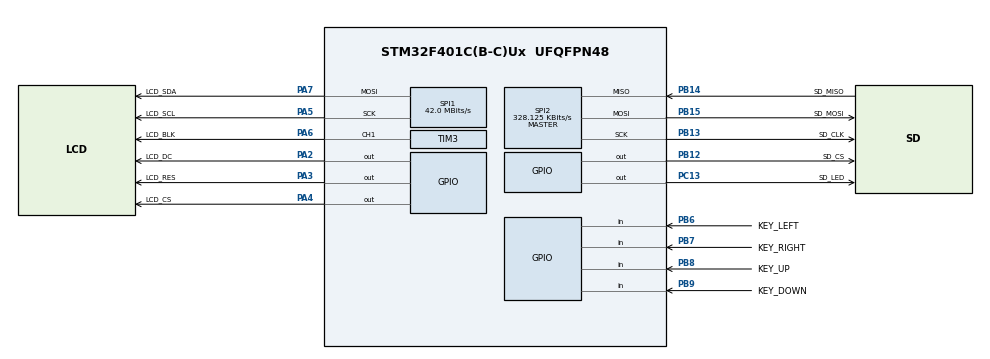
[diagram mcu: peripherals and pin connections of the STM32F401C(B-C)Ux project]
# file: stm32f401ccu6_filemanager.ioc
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Dma.Request0=SPI1_TX
Dma.Request1=SPI2_RX
Dma.Request2=SPI2_TX
Dma.SPI1_TX.0.Direction=DMA_MEMORY_TO_PERIPH
Dma.SPI1_TX.0.FIFOMode=DMA_FIFOMODE_DISABLE
Dma.SPI1_TX.0.Instance=DMA2_Stream3
Dma.SPI1_TX.0.MemDataAlignment=DMA_MDATAALIGN_HALFWORD
Dma.SPI1_TX.0.MemInc=DMA_MINC_ENABLE
Dma.SPI1_TX.0.Mode=DMA_NORMAL
Dma.SPI1_TX.0.PeriphDataAlignment=DMA_PDATAALIGN_HALFWORD
Dma.SPI1_TX.0.PeriphInc=DMA_PINC_DISABLE
Dma.SPI1_TX.0.Priority=DMA_PRIORITY_LOW
Dma.SPI2_RX.1.Direction=DMA_PERIPH_TO_MEMORY
Dma.SPI2_RX.1.FIFOMode=DMA_FIFOMODE_DISABLE
Dma.SPI2_RX.1.Instance=DMA1_Stream3
Dma.SPI2_RX.1.MemDataAlignment=DMA_MDATAALIGN_BYTE
Dma.SPI2_RX.1.MemInc=DMA_MINC_ENABLE
Dma.SPI2_RX.1.Mode=DMA_NORMAL
Dma.SPI2_RX.1.PeriphDataAlignment=DMA_PDATAALIGN_BYTE
Dma.SPI2_RX.1.PeriphInc=DMA_PINC_DISABLE
Dma.SPI2_RX.1.Priority=DMA_PRIORITY_LOW
Dma.SPI2_TX.2.Direction=DMA_MEMORY_TO_PERIPH
Dma.SPI2_TX.2.FIFOMode=DMA_FIFOMODE_DISABLE
Dma.SPI2_TX.2.Instance=DMA1_Stream4
Dma.SPI2_TX.2.MemDataAlignment=DMA_MDATAALIGN_BYTE
Dma.SPI2_TX.2.MemInc=DMA_MINC_ENABLE
Dma.SPI2_TX.2.Mode=DMA_NORMAL
Dma.SPI2_TX.2.PeriphDataAlignment=DMA_PDATAALIGN_BYTE
Dma.SPI2_TX.2.PeriphInc=DMA_PINC_DISABLE
Dma.SPI2_TX.2.Priority=DMA_PRIORITY_LOW
FATFS._CODE_PAGE=866
FATFS._FS_LOCK=0
FATFS._USE_LFN=1
Mcu.Family=STM32F4
Mcu.Name=STM32F401C(B-C)Ux
Mcu.Package=UFQFPN48
NVIC.DMA1_Stream3_IRQn=true\:0\:0\:false\:false\:true\:false\:true\:true
NVIC.DMA1_Stream4_IRQn=true\:0\:0\:false\:false\:true\:false\:true\:true
NVIC.DMA2_Stream3_IRQn=true\:0\:0\:false\:false\:true\:false\:true\:true
NVIC.PriorityGroup=NVIC_PRIORITYGROUP_4
NVIC.TIM1_UP_TIM10_IRQn=true\:2\:0\:true\:false\:true\:true\:true\:true
PA13.Mode=Serial_Wire
PA13.Signal=SYS_JTMS-SWDIO
PA14.Mode=Serial_Wire
PA14.Signal=SYS_JTCK-SWCLK
PA2.GPIO_Label=LCD_DC
PA2.GPIO_Speed=GPIO_SPEED_FREQ_HIGH
PA2.PinState=GPIO_PIN_SET
PA2.Signal=GPIO_Output
PA3.GPIO_Label=LCD_RES
PA3.GPIO_Speed=GPIO_SPEED_FREQ_HIGH
PA3.PinState=GPIO_PIN_SET
PA3.Signal=GPIO_Output
PA4.GPIO_Label=LCD_CS
PA4.GPIO_PuPd=GPIO_PULLUP
PA4.GPIO_Speed=GPIO_SPEED_FREQ_HIGH
PA4.PinState=GPIO_PIN_SET
PA4.Signal=GPIO_Output
PA5.GPIO_Label=LCD_SCL
PA5.GPIO_PuPd=GPIO_PULLUP
PA5.Mode=TX_Only_Simplex_Unidirect_Master
PA5.Signal=SPI1_SCK
PA6.GPIO_Label=LCD_BLK
PA6.Signal=S_TIM3_CH1
PA7.GPIO_Label=LCD_SDA
PA7.GPIO_PuPd=GPIO_PULLUP
PA7.Mode=TX_Only_Simplex_Unidirect_Master
PA7.Signal=SPI1_MOSI
PB12.GPIO_Label=SD_CS
PB12.GPIO_PuPd=GPIO_PULLUP
PB12.GPIO_Speed=GPIO_SPEED_FREQ_HIGH
PB12.PinState=GPIO_PIN_SET
PB12.Signal=GPIO_Output
PB13.GPIO_Label=SD_CLK
PB13.Mode=Full_Duplex_Master
PB13.Signal=SPI2_SCK
PB14.GPIO_Label=SD_MISO
PB14.Mode=Full_Duplex_Master
PB14.Signal=SPI2_MISO
PB15.GPIO_Label=SD_MOSI
PB15.Mode=Full_Duplex_Master
PB15.Signal=SPI2_MOSI
PB6.GPIO_Label=KEY_LEFT
PB6.GPIO_Mode=GPIO_MODE_INPUT
PB6.GPIO_PuPd=GPIO_PULLUP
PB6.Signal=GPIO_Input
PB7.GPIO_Label=KEY_RIGHT
PB7.GPIO_Mode=GPIO_MODE_INPUT
PB7.GPIO_PuPd=GPIO_PULLUP
PB7.Signal=GPIO_Input
PB8.GPIO_Label=KEY_UP
PB8.GPIO_Mode=GPIO_MODE_INPUT
PB8.GPIO_PuPd=GPIO_PULLUP
PB8.Signal=GPIO_Input
PB9.GPIO_Label=KEY_DOWN
PB9.GPIO_Mode=GPIO_MODE_INPUT
PB9.GPIO_PuPd=GPIO_PULLUP
PB9.Signal=GPIO_Input
PC13-ANTI_TAMP.GPIO_Label=SD_LED
PC13-ANTI_TAMP.PinState=GPIO_PIN_SET
PC13-ANTI_TAMP.Signal=GPIO_Output
PH0\ -\ OSC_IN.Mode=HSE-External-Oscillator
PH0\ -\ OSC_IN.Signal=RCC_OSC_IN
PH1\ -\ OSC_OUT.Mode=HSE-External-Oscillator
PH1\ -\ OSC_OUT.Signal=RCC_OSC_OUT
ProjectManager.HeapSize=0x200
ProjectManager.StackSize=0x400
ProjectManager.TargetToolchain=STM32CubeIDE
RCC.48MHZClocksFreq_Value=42000000
RCC.AHBFreq_Value=84000000
RCC.APB1CLKDivider=RCC_HCLK_DIV2
RCC.APB1Freq_Value=42000000
RCC.APB1TimFreq_Value=84000000
RCC.APB2Freq_Value=84000000
RCC.APB2TimFreq_Value=84000000
RCC.CortexFreq_Value=84000000
RCC.HCLKFreq_Value=84000000
RCC.HSE_VALUE=25000000
RCC.HSI_VALUE=16000000
RCC.LSE_VALUE=32768
RCC.PLLM=25
RCC.PLLN=168
RCC.PLLSourceVirtual=RCC_PLLSOURCE_HSE
RCC.SYSCLKFreq_VALUE=84000000
RCC.SYSCLKSource=RCC_SYSCLKSOURCE_PLLCLK
RCC.VCOOutputFreq_Value=168000000
SH.S_TIM3_CH1.0=TIM3_CH1,PWM Generation1 CH1
SPI1.CLKPolarity=SPI_POLARITY_HIGH
SPI1.CalculateBaudRate=42.0 MBits/s
SPI1.Direction=SPI_DIRECTION_2LINES
SPI1.Mode=SPI_MODE_MASTER
SPI1.VirtualType=VM_MASTER
SPI2.BaudRatePrescaler=SPI_BAUDRATEPRESCALER_128
SPI2.CalculateBaudRate=328.125 KBits/s
SPI2.Direction=SPI_DIRECTION_2LINES
SPI2.Mode=SPI_MODE_MASTER
SPI2.VirtualType=VM_MASTER
TIM10.Period=419
TIM10.Prescaler=999
TIM3.Channel-PWM\ Generation1\ CH1=TIM_CHANNEL_1
TIM3.Period=209
TIM3.Prescaler=999
TIM3.Pulse-PWM\ Generation1\ CH1=109
VP_FATFS_VS_Generic.Mode=User_defined
VP_TIM10_VS_ClockSourceINT.Mode=Enable_Timer
board=custom

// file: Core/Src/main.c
/* USER CODE BEGIN Header */
/**
  *
  * Copyright (C) 2022, VadRov, all right reserved.
  *
  * Проект файлового менеджера с использованием библиотеки FATFS
  *
  * Допускается свободное распространение без целей коммерческого использования.
  * При коммерческом использовании необходимо согласование с автором.
  * Распространятся по типу "как есть", то есть использование осуществляете на свой страх и риск.
  * Автор не предоставляет никаких гарантий.
  *
  * Основные возможности файлового менеджера:
  * - Вывод менеджера в окне, параметры (координата верхнего левого угла, ширина и высота окна, шрифт, цвет)
  *   которого задает пользователь;
  * - Сокращение имен файлов и каталогов (если они не помещаются в окне) по типу менеджера Total Commander;
  * - Нет ограничений на количество файлов и подкаталогов в каталоге;
  * - Запоминание позиции курсора в вышестоящем каталоге и восстановление этой позиции при возврате на него
  *   с вложенного подкаталога;
  * - Вывод иконок (значков) файлов и каталогов;
  * - Поддержка вложенных каталогов с уровнем вложенности, ограниченным размером оперативной памяти
  *   микроконтроллера.
  *
  *   Проект базируется на библиотеках автора:
  *   - драйвер работы с SD-картой по SPI c использованием DMA (Авторы: ChaN (2014), kiwih (2017), VadRov (2019),
  *     каталог FATFS/Target)
  *     https://www.youtube.com/watch?v=z99bLhlnukM
  *   - драйвер для работы с дисплеями по SPI с использованием DMA (каталог Display_spi_LL)
  *     https://www.youtube.com/watch?v=8tIJ16riJqo
  *   - модуль для работы с кнопками с фильтром дребезга, автоповтором и буферризацией ввода (каталог Keyboard)
  *     https://www.youtube.com/watch?v=e-w5HS75neg
  *   - процедуры работы со строками (каталог MyString).
  *
  * Автор: VadRov
  *
  * https://www.youtube.com/@VadRov
  * https://dzen.ru/vadrov
  * https://vk.com/vadrov
  * https://t.me/vadrov_channel
  */
/* USER CODE END Header */
#include "main.h"
#include "fatfs.h"

/* USER CODE BEGIN Includes */
#include "string.h"
/*--------- Подключение пользовательских модулей и драйверов -----------------*/
#include "../../Keyboard/keyboard.h" 	   //модуль работы с кнопками
#include "../../Display/display.h"  	   //драйвер работы с дисплеями по SPI
#include "../../Display/st7789.h"	  	   //драйвер для дисплея ST7789
#include "../../Display/ili9341.h"	  	   //драйвер для дисплея ST7789
#include "../../Filemanager/filemanager.h" //модуль файлового менеджера
#include "../../MyString/mystring.h"	   //библиотека работы со строками
/* USER CODE END Includes */

void SystemClock_Config(void);
static void MX_GPIO_Init(void);
static void MX_DMA_Init(void);
static void MX_SPI1_Init(void);
static void MX_TIM10_Init(void);
static void MX_SPI2_Init(void);
static void MX_TIM3_Init(void);

int main(void)
{

  /* MCU Configuration--------------------------------------------------------*/

  /* Reset of all peripherals, Initializes the Flash interface and the Systick. */
  HAL_Init();

  /* Configure the system clock */
  SystemClock_Config();

  /* Initialize all configured peripherals */
  MX_GPIO_Init();
  MX_DMA_Init();
  MX_SPI1_Init();
  MX_TIM10_Init();
  MX_SPI2_Init();
  MX_TIM3_Init();
  MX_FATFS_Init();
  /* USER CODE BEGIN 2 */

  /* ---------------------------- Настройка кнопок ------------------------------- */
  KEYB_Add_Button(KEY_LEFT_GPIO_Port, KEY_LEFT_Pin, KEYB_LEFT, KEYB_BUTTON_ACTIVE);
  KEYB_Add_Button(KEY_RIGHT_GPIO_Port, KEY_RIGHT_Pin, KEYB_RIGHT, KEYB_BUTTON_ACTIVE);
  KEYB_Add_Button(KEY_UP_GPIO_Port, KEY_UP_Pin, KEYB_UP, KEYB_BUTTON_ACTIVE);
  KEYB_Add_Button(KEY_DOWN_GPIO_Port, KEY_DOWN_Pin, KEYB_DOWN, KEYB_BUTTON_ACTIVE);

  TIM10->DIER |= TIM_DIER_UIE;
  TIM10->CR1  |= TIM_CR1_CEN;
  /* ------------------------------------------------------------------------------- */

  /* ---------------------------- Настройка дисплея -------------------------------- */
  LCD_DMA_TypeDef dma_tx = { DMA2,
    		  	  	  	  	 LL_DMA_STREAM_3 };

  LCD_BackLight_data bkl_data = { TIM3,
    		  	  	  	  	  	  LL_TIM_CHANNEL_CH1,
								  0,
								  0,
								  50  };

  LCD_SPI_Connected_data spi_con = { SPI1,
    		  	  	  	  	  	  	 dma_tx,
									 LCD_RES_GPIO_Port,
									 LCD_RES_Pin,
									 LCD_DC_GPIO_Port,
									 LCD_DC_Pin,
									 LCD_CS_GPIO_Port,
									 LCD_CS_Pin         };

  #ifndef LCD_DYNAMIC_MEM
  LCD_Handler lcd1;
#endif

//для дисплея на контроллере st7789
  LCD = LCD_DisplayAdd( LCD,
#ifndef LCD_DYNAMIC_MEM
		   	   	   	   	&lcd1,
#endif
						240,
     					240,
						ST7789_CONTROLLER_WIDTH,
						ST7789_CONTROLLER_HEIGHT,
						PAGE_ORIENTATION_PORTRAIT,
						//PAGE_ORIENTATION_LANDSCAPE,
						ST7789_Init,
						ST7789_SetWindow,
						ST7789_SleepIn,
						ST7789_SleepOut,
						&spi_con,
						LCD_DATA_16BIT_BUS,
						bkl_data				   );

/*
  //для дисплея на контроллере ili9341
  LCD = LCD_DisplayAdd( LCD,
#ifndef  LCD_DYNAMIC_MEM
		   	   	   	   	 &lcd1,
#endif
		   	   	   	   	 240,
						 320,
						 ILI9341_CONTROLLER_WIDTH,
						 ILI9341_CONTROLLER_HEIGHT,
						 PAGE_ORIENTATION_PORTRAIT_MIRROR,
						 ILI9341_Init,
						 ILI9341_SetWindow,
						 ILI9341_SleepIn,
						 ILI9341_SleepOut,
						 &spi_con,
						 LCD_DATA_16BIT_BUS,
						 bkl_data				   );
*/
  LCD_Handler *lcd = LCD; //указатель на первый дисплей в списке
  LCD_Init(lcd);
  LCD_Fill(lcd, COLOR_BLACK);
  /* ------------------------------------------------------------------------------ */

  /* ----------------------------- Монтирование диска ----------------------------- */
  (void)f_mount(&USERFatFS, USERPath, 0);
  /* ------------------------------------------------------------------------------ */

  /* ----------------------- Настройка файлового менеджера ------------------------ */
  /* Определение цветовых схем. Варианты для примера. */
  /* Вариант 1. Цветовая схема по типу TotalCommander */
  File_Manager_Color_Scheme color_scheme_tc = { COLOR_BLACK, /* цвет текста наименования каталога */
		  	  	  	  	  	  	  	  	  	  	COLOR_BLACK, /* цвет текста наименования файла */
												COLOR_BLACK, /* цвет текста выбранного файла/каталога */
												COLOR_WHITE, /* цвет фона окна менеджера (для пустых строк) */
												COLOR_WHITE, /* цвет фона четных строк */
												0xF5F5F5,    /* цвет фона нечетных строк */
												COLOR_BLACK, /* цвет курсора текущего файла/каталога */
												0xDBDBDB,	 /* цвет ползунка вертикальной прокрутки */
												0xF5F5F5,	 /* цвет полосы вертикальной прокрутки */
												0			 /* флаг закрашивания курсора:
															    0 - текст выбранного файла/каталога обводится
															    прямоугольником цвета курсора (cursor_color).
													 	 	    >0 - фон текста выбранного файла/каталога приравнивается
													 	 	    цвету курсора (cursor_color) */
											 	 };
  /* Вариант 2. Цветовая схема по типу FAR */
  File_Manager_Color_Scheme color_scheme_far = { COLOR_WHITE,
		  	  	  	  	  	  	  	  	  	  	 COLOR_CYAN,
												 COLOR_BLACK,
		  	  	  	  	  	  	  	  	  	  	 COLOR_BLUE,
												 COLOR_BLUE,
												 COLOR_BLUE,
												 0x00CCCC,
												 COLOR_CYAN,
												 COLOR_BLUE,
												 1};
  /* Вариант 3. Цветовая схема по типу Frigate */
  File_Manager_Color_Scheme color_scheme_frigate = { 0x19389E,
		  	  	  	  	  	  	  	  	  	  	  	 0x19389E,
													 COLOR_BLACK,
													 COLOR_WHITE,
													 COLOR_WHITE,
													 COLOR_WHITE,
													 0xA6CBEE,
													 0xA6CBEE,
												 	 0xF8F8F5,
													 1};
  /* Вариант 4. Цветовая схема по типу Double Commander */
  File_Manager_Color_Scheme color_scheme_dc = { COLOR_GREEN,
		  	  	  	  	  	  	  	  	  	  	COLOR_GREEN,
												COLOR_BLACK,
		  	  	  	  	  	  	  	  	  	  	COLOR_BLACK,
												COLOR_BLACK,
												COLOR_BLACK,
												0x0A246A,
												0xD4D0C8,
												0xF0F0F0,
												1};

  /* Объявление массива указателей на цветовые схемы */
  File_Manager_Color_Scheme *color_scheme[] = {&color_scheme_tc, &color_scheme_far, &color_scheme_frigate, &color_scheme_dc};

/* Константы, соответствующие позиции указателя на цветовую схему в массиве *color_scheme[] */
#define COLOR_SCHEME_TC			0
#define COLOR_SCHEME_FAR		1
#define COLOR_SCHEME_FRIGATE	2
#define COLOR_SCHEME_DC			3

  File_Manager_Handler *fm = FileManagerNew();			/* Создание обработчика файлового менеджера */
  fm->SetDisplay(fm, lcd);								/* Дисплей, на который выводится файловый менеджер (указатель) */
  fm->SetWin(fm, 0, 0, lcd->Width, lcd->Height);		/* Параметры окна файлового менеджера:
  	  	  	  	  	  	  	  	  	  	  	  	  	  	  - позиция левого верхнего угла окна по горизонтали;
  	  	  	  	  	  	  	  	  	  	  	  	  	  	  - позиция левого верхнего угла окна по вертикали;
  	  	  	  	  	  	  	  	  	  	  	  	  	  	  - ширина окна;
  	  	  	  	  	  	  	  	  	  	  	  	  	  	  - высота окна. */
  fm->SetColor(fm, color_scheme[COLOR_SCHEME_TC]);		/* Цветовая схема (указатель) */
  fm->SetFont(fm, &Font_12x20);							/* Шрифт (указатель) */
  fm->SetKeys(fm, KEYB_UP, KEYB_DOWN, KEYB_RIGHT);		/* Кнопки управления:
   	   	   	   	   	   	   	   	   	   	   	   	   	   	   - номер бита кнопки вверх;
   	   	   	   	   	   	   	   	   	   	   	   	   	   	   - номер бита кнопки вниз;
   	   	   	   	   	   	   	   	   	   	   	   	   	   	   - номер бита кнопки ввод/выбор. */
  //--------------------------------------------------------------------------------

  while (1)
  {
	  /* "Всплывающее" окно файлового менеджера */
	  FileManagerPopupWin(fm, 5);
	  /* Запуск менеджера файлов */
	  fm->Show(fm);
	  /* Проверка статуса завершения работы менеджера файлов */
	  if (fm->GetStatus(fm) == File_Manager_OK) /* Завершение без ошибок с выбором файла? */
	  {
		  /* "Склеиваем" путь до файла с именем файла */
		  char *tmp = my_strsplice(2, "/", fm->GetFilePath(fm), fm->GetFileName(fm));
		  if (f_open(&USERFile, tmp, FA_READ) == FR_OK) /* Файл открыт успешно? */
		  {
			  /* Выводим сообщение о том, что файл открыт успешно. */
			  LCD_WriteString(lcd, 0, 0, "File opened succesfully!", fm->font, fm->color_scheme->text_color_file, fm->color_scheme->bg_color, LCD_SYMBOL_PRINT_FAST);
			  /* Закрываем файл */
			  f_close(&USERFile);
		  }
		  else
		  {
			  /* Выводим сообщение о том, что возникла ошибка при открытии файла */
			  LCD_WriteString(lcd, 0, 0, "File opening error!", fm->font, fm->color_scheme->text_color_file, fm->color_scheme->bg_color, LCD_SYMBOL_PRINT_FAST);
		  }
	  }
	  else
	  {
		  /* Выводим сообщение, что работа файлового менеджера завершена с ошибкой */
		  LCD_WriteString(lcd, 0, 0, "Error FileManager!", fm->font, fm->color_scheme->text_color_file, fm->color_scheme->bg_color, LCD_SYMBOL_PRINT_FAST);
	  }
	  /* Ожидаем нажатия любой кнопки */
	  while(!KEYB_Inkeys()) ;
  }
  /* USER CODE END 2 */

  /* Infinite loop */
  while (1)
  {

  }
}

void SystemClock_Config(void)
{
  LL_FLASH_SetLatency(LL_FLASH_LATENCY_2);
  while(LL_FLASH_GetLatency()!= LL_FLASH_LATENCY_2)
  {
  }
  LL_PWR_SetRegulVoltageScaling(LL_PWR_REGU_VOLTAGE_SCALE2);
  LL_RCC_HSE_Enable();

   /* Wait till HSE is ready */
  while(LL_RCC_HSE_IsReady() != 1)
  {

  }
  LL_RCC_PLL_ConfigDomain_SYS(LL_RCC_PLLSOURCE_HSE, LL_RCC_PLLM_DIV_25, 168, LL_RCC_PLLP_DIV_2);
  LL_RCC_PLL_Enable();

   /* Wait till PLL is ready */
  while(LL_RCC_PLL_IsReady() != 1)
  {

  }
  LL_RCC_SetAHBPrescaler(LL_RCC_SYSCLK_DIV_1);
  LL_RCC_SetAPB1Prescaler(LL_RCC_APB1_DIV_2);
  LL_RCC_SetAPB2Prescaler(LL_RCC_APB2_DIV_1);
  LL_RCC_SetSysClkSource(LL_RCC_SYS_CLKSOURCE_PLL);

   /* Wait till System clock is ready */
  while(LL_RCC_GetSysClkSource() != LL_RCC_SYS_CLKSOURCE_STATUS_PLL)
  {

  }
  LL_SetSystemCoreClock(84000000);

   /* Update the time base */
  if (HAL_InitTick (TICK_INT_PRIORITY) != HAL_OK)
  {
    Error_Handler();
  }
  LL_RCC_SetTIMPrescaler(LL_RCC_TIM_PRESCALER_TWICE);
}

static void MX_SPI1_Init(void)
{

  LL_SPI_InitTypeDef SPI_InitStruct = {0};

  LL_GPIO_InitTypeDef GPIO_InitStruct = {0};

  /* Peripheral clock enable */
  LL_APB2_GRP1_EnableClock(LL_APB2_GRP1_PERIPH_SPI1);

  LL_AHB1_GRP1_EnableClock(LL_AHB1_GRP1_PERIPH_GPIOA);
  /**SPI1 GPIO Configuration
  PA5   ------> SPI1_SCK
  PA7   ------> SPI1_MOSI
  */
  GPIO_InitStruct.Pin = LCD_SCL_Pin|LCD_SDA_Pin;
  GPIO_InitStruct.Mode = LL_GPIO_MODE_ALTERNATE;
  GPIO_InitStruct.Speed = LL_GPIO_SPEED_FREQ_VERY_HIGH;
  GPIO_InitStruct.OutputType = LL_GPIO_OUTPUT_PUSHPULL;
  GPIO_InitStruct.Pull = LL_GPIO_PULL_UP;
  GPIO_InitStruct.Alternate = LL_GPIO_AF_5;
  LL_GPIO_Init(GPIOA, &GPIO_InitStruct);

  /* SPI1 DMA Init */

  /* SPI1_TX Init */
  LL_DMA_SetChannelSelection(DMA2, LL_DMA_STREAM_3, LL_DMA_CHANNEL_3);

  LL_DMA_SetDataTransferDirection(DMA2, LL_DMA_STREAM_3, LL_DMA_DIRECTION_MEMORY_TO_PERIPH);

  LL_DMA_SetStreamPriorityLevel(DMA2, LL_DMA_STREAM_3, LL_DMA_PRIORITY_LOW);

  LL_DMA_SetMode(DMA2, LL_DMA_STREAM_3, LL_DMA_MODE_NORMAL);

  LL_DMA_SetPeriphIncMode(DMA2, LL_DMA_STREAM_3, LL_DMA_PERIPH_NOINCREMENT);

  LL_DMA_SetMemoryIncMode(DMA2, LL_DMA_STREAM_3, LL_DMA_MEMORY_INCREMENT);

  LL_DMA_SetPeriphSize(DMA2, LL_DMA_STREAM_3, LL_DMA_PDATAALIGN_HALFWORD);

  LL_DMA_SetMemorySize(DMA2, LL_DMA_STREAM_3, LL_DMA_MDATAALIGN_HALFWORD);

  LL_DMA_DisableFifoMode(DMA2, LL_DMA_STREAM_3);

  /* SPI1 parameter configuration*/
  SPI_InitStruct.TransferDirection = LL_SPI_FULL_DUPLEX;
  SPI_InitStruct.Mode = LL_SPI_MODE_MASTER;
  SPI_InitStruct.DataWidth = LL_SPI_DATAWIDTH_8BIT;
  SPI_InitStruct.ClockPolarity = LL_SPI_POLARITY_HIGH;
  SPI_InitStruct.ClockPhase = LL_SPI_PHASE_1EDGE;
  SPI_InitStruct.NSS = LL_SPI_NSS_SOFT;
  SPI_InitStruct.BaudRate = LL_SPI_BAUDRATEPRESCALER_DIV2;
  SPI_InitStruct.BitOrder = LL_SPI_MSB_FIRST;
  SPI_InitStruct.CRCCalculation = LL_SPI_CRCCALCULATION_DISABLE;
  SPI_InitStruct.CRCPoly = 10;
  LL_SPI_Init(SPI1, &SPI_InitStruct);
  LL_SPI_SetStandard(SPI1, LL_SPI_PROTOCOL_MOTOROLA);

}

static void MX_SPI2_Init(void)
{

  LL_SPI_InitTypeDef SPI_InitStruct = {0};

  LL_GPIO_InitTypeDef GPIO_InitStruct = {0};

  /* Peripheral clock enable */
  LL_APB1_GRP1_EnableClock(LL_APB1_GRP1_PERIPH_SPI2);

  LL_AHB1_GRP1_EnableClock(LL_AHB1_GRP1_PERIPH_GPIOB);
  /**SPI2 GPIO Configuration
  PB13   ------> SPI2_SCK
  PB14   ------> SPI2_MISO
  PB15   ------> SPI2_MOSI
  */
  GPIO_InitStruct.Pin = SD_CLK_Pin|SD_MISO_Pin|SD_MOSI_Pin;
  GPIO_InitStruct.Mode = LL_GPIO_MODE_ALTERNATE;
  GPIO_InitStruct.Speed = LL_GPIO_SPEED_FREQ_VERY_HIGH;
  GPIO_InitStruct.OutputType = LL_GPIO_OUTPUT_PUSHPULL;
  GPIO_InitStruct.Pull = LL_GPIO_PULL_NO;
  GPIO_InitStruct.Alternate = LL_GPIO_AF_5;
  LL_GPIO_Init(GPIOB, &GPIO_InitStruct);

  /* SPI2 DMA Init */

  /* SPI2_RX Init */
  LL_DMA_SetChannelSelection(DMA1, LL_DMA_STREAM_3, LL_DMA_CHANNEL_0);

  LL_DMA_SetDataTransferDirection(DMA1, LL_DMA_STREAM_3, LL_DMA_DIRECTION_PERIPH_TO_MEMORY);

  LL_DMA_SetStreamPriorityLevel(DMA1, LL_DMA_STREAM_3, LL_DMA_PRIORITY_LOW);

  LL_DMA_SetMode(DMA1, LL_DMA_STREAM_3, LL_DMA_MODE_NORMAL);

  LL_DMA_SetPeriphIncMode(DMA1, LL_DMA_STREAM_3, LL_DMA_PERIPH_NOINCREMENT);

  LL_DMA_SetMemoryIncMode(DMA1, LL_DMA_STREAM_3, LL_DMA_MEMORY_INCREMENT);

  LL_DMA_SetPeriphSize(DMA1, LL_DMA_STREAM_3, LL_DMA_PDATAALIGN_BYTE);

  LL_DMA_SetMemorySize(DMA1, LL_DMA_STREAM_3, LL_DMA_MDATAALIGN_BYTE);

  LL_DMA_DisableFifoMode(DMA1, LL_DMA_STREAM_3);

  /* SPI2_TX Init */
  LL_DMA_SetChannelSelection(DMA1, LL_DMA_STREAM_4, LL_DMA_CHANNEL_0);

  LL_DMA_SetDataTransferDirection(DMA1, LL_DMA_STREAM_4, LL_DMA_DIRECTION_MEMORY_TO_PERIPH);

  LL_DMA_SetStreamPriorityLevel(DMA1, LL_DMA_STREAM_4, LL_DMA_PRIORITY_LOW);

  LL_DMA_SetMode(DMA1, LL_DMA_STREAM_4, LL_DMA_MODE_NORMAL);

  LL_DMA_SetPeriphIncMode(DMA1, LL_DMA_STREAM_4, LL_DMA_PERIPH_NOINCREMENT);

  LL_DMA_SetMemoryIncMode(DMA1, LL_DMA_STREAM_4, LL_DMA_MEMORY_INCREMENT);

  LL_DMA_SetPeriphSize(DMA1, LL_DMA_STREAM_4, LL_DMA_PDATAALIGN_BYTE);

  LL_DMA_SetMemorySize(DMA1, LL_DMA_STREAM_4, LL_DMA_MDATAALIGN_BYTE);

  LL_DMA_DisableFifoMode(DMA1, LL_DMA_STREAM_4);

  /* SPI2 parameter configuration*/
  SPI_InitStruct.TransferDirection = LL_SPI_FULL_DUPLEX;
  SPI_InitStruct.Mode = LL_SPI_MODE_MASTER;
  SPI_InitStruct.DataWidth = LL_SPI_DATAWIDTH_8BIT;
  SPI_InitStruct.ClockPolarity = LL_SPI_POLARITY_LOW;
  SPI_InitStruct.ClockPhase = LL_SPI_PHASE_1EDGE;
  SPI_InitStruct.NSS = LL_SPI_NSS_SOFT;
  SPI_InitStruct.BaudRate = LL_SPI_BAUDRATEPRESCALER_DIV128;
  SPI_InitStruct.BitOrder = LL_SPI_MSB_FIRST;
  SPI_InitStruct.CRCCalculation = LL_SPI_CRCCALCULATION_DISABLE;
  SPI_InitStruct.CRCPoly = 10;
  LL_SPI_Init(SPI2, &SPI_InitStruct);
  LL_SPI_SetStandard(SPI2, LL_SPI_PROTOCOL_MOTOROLA);

}

static void MX_TIM3_Init(void)
{

  LL_TIM_InitTypeDef TIM_InitStruct = {0};
  LL_TIM_OC_InitTypeDef TIM_OC_InitStruct = {0};

  LL_GPIO_InitTypeDef GPIO_InitStruct = {0};

  /* Peripheral clock enable */
  LL_APB1_GRP1_EnableClock(LL_APB1_GRP1_PERIPH_TIM3);

  TIM_InitStruct.Prescaler = 999;
  TIM_InitStruct.CounterMode = LL_TIM_COUNTERMODE_UP;
  TIM_InitStruct.Autoreload = 209;
  TIM_InitStruct.ClockDivision = LL_TIM_CLOCKDIVISION_DIV1;
  LL_TIM_Init(TIM3, &TIM_InitStruct);
  LL_TIM_DisableARRPreload(TIM3);
  LL_TIM_OC_EnablePreload(TIM3, LL_TIM_CHANNEL_CH1);
  TIM_OC_InitStruct.OCMode = LL_TIM_OCMODE_PWM1;
  TIM_OC_InitStruct.OCState = LL_TIM_OCSTATE_DISABLE;
  TIM_OC_InitStruct.OCNState = LL_TIM_OCSTATE_DISABLE;
  TIM_OC_InitStruct.CompareValue = 109;
  TIM_OC_InitStruct.OCPolarity = LL_TIM_OCPOLARITY_HIGH;
  LL_TIM_OC_Init(TIM3, LL_TIM_CHANNEL_CH1, &TIM_OC_InitStruct);
  LL_TIM_OC_DisableFast(TIM3, LL_TIM_CHANNEL_CH1);
  LL_TIM_SetTriggerOutput(TIM3, LL_TIM_TRGO_RESET);
  LL_TIM_DisableMasterSlaveMode(TIM3);
  LL_AHB1_GRP1_EnableClock(LL_AHB1_GRP1_PERIPH_GPIOA);
  /**TIM3 GPIO Configuration
  PA6   ------> TIM3_CH1
  */
  GPIO_InitStruct.Pin = LCD_BLK_Pin;
  GPIO_InitStruct.Mode = LL_GPIO_MODE_ALTERNATE;
  GPIO_InitStruct.Speed = LL_GPIO_SPEED_FREQ_LOW;
  GPIO_InitStruct.OutputType = LL_GPIO_OUTPUT_PUSHPULL;
  GPIO_InitStruct.Pull = LL_GPIO_PULL_NO;
  GPIO_InitStruct.Alternate = LL_GPIO_AF_2;
  LL_GPIO_Init(LCD_BLK_GPIO_Port, &GPIO_InitStruct);

}

static void MX_TIM10_Init(void)
{

  LL_TIM_InitTypeDef TIM_InitStruct = {0};

  /* Peripheral clock enable */
  LL_APB2_GRP1_EnableClock(LL_APB2_GRP1_PERIPH_TIM10);

  /* TIM10 interrupt Init */
  NVIC_SetPriority(TIM1_UP_TIM10_IRQn, NVIC_EncodePriority(NVIC_GetPriorityGrouping(),2, 0));
  NVIC_EnableIRQ(TIM1_UP_TIM10_IRQn);

  TIM_InitStruct.Prescaler = 999;
  TIM_InitStruct.CounterMode = LL_TIM_COUNTERMODE_UP;
  TIM_InitStruct.Autoreload = 419;
  TIM_InitStruct.ClockDivision = LL_TIM_CLOCKDIVISION_DIV1;
  LL_TIM_Init(TIM10, &TIM_InitStruct);
  LL_TIM_DisableARRPreload(TIM10);

}

static void MX_DMA_Init(void)
{

  /* Init with LL driver */
  /* DMA controller clock enable */
  LL_AHB1_GRP1_EnableClock(LL_AHB1_GRP1_PERIPH_DMA2);
  LL_AHB1_GRP1_EnableClock(LL_AHB1_GRP1_PERIPH_DMA1);

  /* DMA interrupt init */
  /* DMA1_Stream3_IRQn interrupt configuration */
  NVIC_SetPriority(DMA1_Stream3_IRQn, NVIC_EncodePriority(NVIC_GetPriorityGrouping(),0, 0));
  NVIC_EnableIRQ(DMA1_Stream3_IRQn);
  /* DMA1_Stream4_IRQn interrupt configuration */
  NVIC_SetPriority(DMA1_Stream4_IRQn, NVIC_EncodePriority(NVIC_GetPriorityGrouping(),0, 0));
  NVIC_EnableIRQ(DMA1_Stream4_IRQn);
  /* DMA2_Stream3_IRQn interrupt configuration */
  NVIC_SetPriority(DMA2_Stream3_IRQn, NVIC_EncodePriority(NVIC_GetPriorityGrouping(),0, 0));
  NVIC_EnableIRQ(DMA2_Stream3_IRQn);

}

static void MX_GPIO_Init(void)
{
  LL_GPIO_InitTypeDef GPIO_InitStruct = {0};

  /* GPIO Ports Clock Enable */
  LL_AHB1_GRP1_EnableClock(LL_AHB1_GRP1_PERIPH_GPIOC);
  LL_AHB1_GRP1_EnableClock(LL_AHB1_GRP1_PERIPH_GPIOH);
  LL_AHB1_GRP1_EnableClock(LL_AHB1_GRP1_PERIPH_GPIOA);
  LL_AHB1_GRP1_EnableClock(LL_AHB1_GRP1_PERIPH_GPIOB);

  /**/
  LL_GPIO_SetOutputPin(SD_LED_GPIO_Port, SD_LED_Pin);

  /**/
  LL_GPIO_SetOutputPin(GPIOA, LCD_DC_Pin|LCD_RES_Pin|LCD_CS_Pin);

  /**/
  LL_GPIO_SetOutputPin(SD_CS_GPIO_Port, SD_CS_Pin);

  /**/
  GPIO_InitStruct.Pin = SD_LED_Pin;
  GPIO_InitStruct.Mode = LL_GPIO_MODE_OUTPUT;
  GPIO_InitStruct.Speed = LL_GPIO_SPEED_FREQ_LOW;
  GPIO_InitStruct.OutputType = LL_GPIO_OUTPUT_PUSHPULL;
  GPIO_InitStruct.Pull = LL_GPIO_PULL_NO;
  LL_GPIO_Init(SD_LED_GPIO_Port, &GPIO_InitStruct);

  /**/
  GPIO_InitStruct.Pin = LCD_DC_Pin|LCD_RES_Pin;
  GPIO_InitStruct.Mode = LL_GPIO_MODE_OUTPUT;
  GPIO_InitStruct.Speed = LL_GPIO_SPEED_FREQ_HIGH;
  GPIO_InitStruct.OutputType = LL_GPIO_OUTPUT_PUSHPULL;
  GPIO_InitStruct.Pull = LL_GPIO_PULL_NO;
  LL_GPIO_Init(GPIOA, &GPIO_InitStruct);

  /**/
  GPIO_InitStruct.Pin = LCD_CS_Pin;
  GPIO_InitStruct.Mode = LL_GPIO_MODE_OUTPUT;
  GPIO_InitStruct.Speed = LL_GPIO_SPEED_FREQ_HIGH;
  GPIO_InitStruct.OutputType = LL_GPIO_OUTPUT_PUSHPULL;
  GPIO_InitStruct.Pull = LL_GPIO_PULL_UP;
  LL_GPIO_Init(LCD_CS_GPIO_Port, &GPIO_InitStruct);

  /**/
  GPIO_InitStruct.Pin = SD_CS_Pin;
  GPIO_InitStruct.Mode = LL_GPIO_MODE_OUTPUT;
  GPIO_InitStruct.Speed = LL_GPIO_SPEED_FREQ_HIGH;
  GPIO_InitStruct.OutputType = LL_GPIO_OUTPUT_PUSHPULL;
  GPIO_InitStruct.Pull = LL_GPIO_PULL_UP;
  LL_GPIO_Init(SD_CS_GPIO_Port, &GPIO_InitStruct);

  /**/
  GPIO_InitStruct.Pin = KEY_LEFT_Pin|KEY_RIGHT_Pin|KEY_UP_Pin|KEY_DOWN_Pin;
  GPIO_InitStruct.Mode = LL_GPIO_MODE_INPUT;
  GPIO_InitStruct.Pull = LL_GPIO_PULL_UP;
  LL_GPIO_Init(GPIOB, &GPIO_InitStruct);

}

void Error_Handler(void)
{
  __disable_irq();
  while (1)
  {
  }
}
